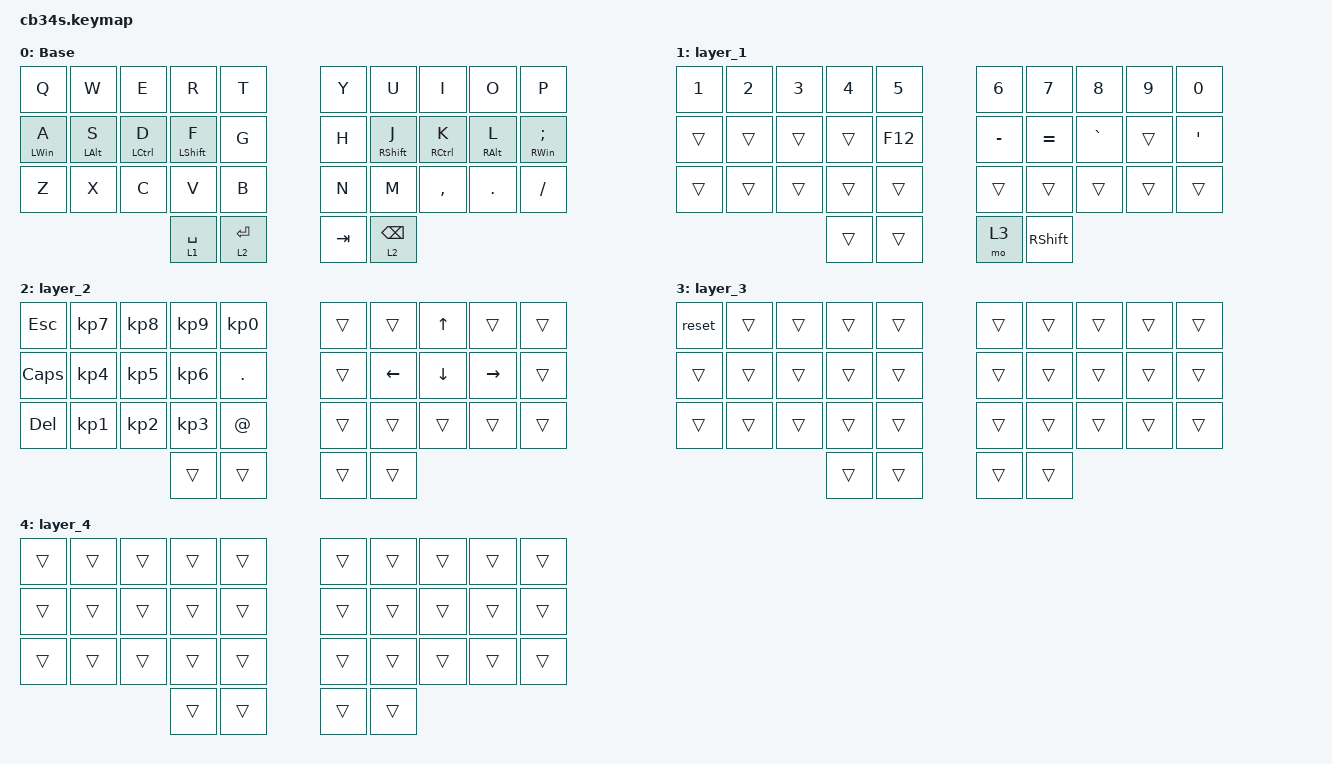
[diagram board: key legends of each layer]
/*
 * Copyright (c) 2020 The ZMK Contributors
 *
 * SPDX-License-Identifier: MIT
 */

#include <behaviors.dtsi>
#include "keymap_eurkey_swiss_de.h"
#include <dt-bindings/zmk/keys.h>

/ {
    combos {
        compatible = "zmk,combos";

        left_bkt {
            bindings = <&kp LBKT>;
            key-positions = <3 2>;
            timeout-ms = <50>;
        };

        right_bkt {
            bindings = <&kp RBKT>;
            key-positions = <6 7>;
            timeout-ms = <50>;
        };

        left_par {
            bindings = <&kp LEFT_PARENTHESIS>;
            key-positions = <12 13>;
            timeout-ms = <50>;
        };

        right_par {
            bindings = <&kp RIGHT_PARENTHESIS>;
            key-positions = <16 17>;
            timeout-ms = <50>;
        };

        left_brace {
            bindings = <&kp LEFT_BRACE>;
            key-positions = <23 22>;
            timeout-ms = <50>;
        };

        right_brace {
            bindings = <&kp RIGHT_BRACE>;
            key-positions = <26 27>;
            timeout-ms = <50>;
        };

        bac {
            bindings = <&kp BACKSLASH>;
            key-positions = <4 5>;
        };

        pipe {
            bindings = <&kp PIPE>;
            key-positions = <14 15>;
        };
    };

    behaviors {
        hm: homerow_mods {
            compatible = "zmk,behavior-hold-tap";
            label = "HOMEROW_MODS";
            #binding-cells = <2>;
            tapping-term-ms = <200>;
            quick_tap_ms = <0>;
            flavor = "tap-preferred";
            bindings = <&kp>, <&kp>;

            quick-tap-ms = <180>;
            global-quick-tap;
        };

        ltq: ltq {
            compatible = "zmk,behavior-hold-tap";
            label = "LTQ";
            bindings = <&mo>, <&kp>;

            #binding-cells = <2>;
            tapping-term-ms = <600>;
            global-quick-tap;
            quick-tap-ms = <400>;
        };
    };

    keymap {
        compatible = "zmk,keymap";

        default_layer {
            label = "Base";
            bindings = <
&kp Q           &kp W           &kp E        &kp R             &kp T        &kp Y    &kp U              &kp I        &kp O            &kp P
&hm LEFT_WIN A  &hm LEFT_ALT S  &hm LCTRL D  &hm LEFT_SHIFT F  &kp G        &kp H    &hm RIGHT_SHIFT J  &hm RCTRL K  &hm RIGHT_ALT L  &hm RIGHT_WIN SEMI
&kp Z           &kp X           &kp C        &kp V             &kp B        &kp N    &kp M              &kp COMMA    &kp DOT          &kp FSLH
                                             &lt 1 SPACE       &lt 2 ENTER  &kp TAB  &ltq 2 BACKSPACE
            >;
        };

        layer_1 {
            bindings = <
&kp N1  &kp NUMBER_2  &kp NUMBER_3  &kp NUMBER_4  &kp N5   &kp NUMBER_6  &kp N7           &kp N8     &kp N9  &kp N0
&trans  &trans        &trans        &trans        &kp F12  &kp MINUS     &kp EQUAL        &kp GRAVE  &trans  &kp SQT
&trans  &trans        &trans        &trans        &trans   &trans        &trans           &trans     &trans  &trans
                                    &trans        &trans   &mo 3         &kp RIGHT_SHIFT
            >;
        };

        layer_2 {
            bindings = <
&kp ESC   &kp KP_NUMBER_7  &kp KP_NUMBER_8  &kp KP_NUMBER_9  &kp KP_NUMBER_0  &trans  &trans    &kp UP_ARROW    &trans     &trans
&kp CAPS  &kp KP_NUMBER_4  &kp KP_NUMBER_5  &kp KP_NUMBER_6  &kp DOT          &trans  &kp LEFT  &kp DOWN_ARROW  &kp RIGHT  &trans
&kp DEL   &kp KP_NUMBER_1  &kp KP_NUMBER_2  &kp KP_NUMBER_3  &kp AT_SIGN      &trans  &trans    &trans          &trans     &trans
                                            &trans           &trans           &trans  &trans
            >;
        };

        layer_3 {
            bindings = <
&reset  &trans  &trans  &trans  &trans  &trans  &trans  &trans  &trans  &trans
&trans  &trans  &trans  &trans  &trans  &trans  &trans  &trans  &trans  &trans
&trans  &trans  &trans  &trans  &trans  &trans  &trans  &trans  &trans  &trans
                        &trans  &trans  &trans  &trans
            >;
        };

        layer_4 {
            bindings = <
&trans  &trans  &trans  &trans  &trans  &trans  &trans  &trans  &trans  &trans
&trans  &trans  &trans  &trans  &trans  &trans  &trans  &trans  &trans  &trans
&trans  &trans  &trans  &trans  &trans  &trans  &trans  &trans  &trans  &trans
                        &trans  &trans  &trans  &trans
            >;
        };
    };
};
